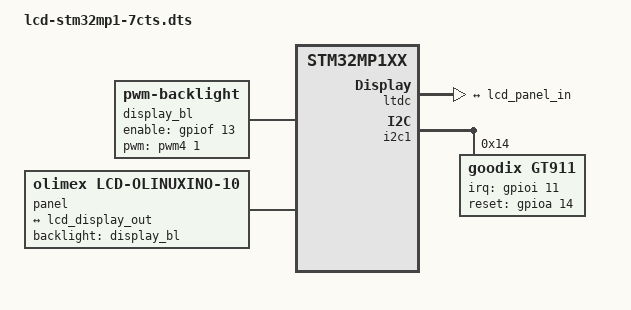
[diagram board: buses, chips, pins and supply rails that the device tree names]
/dts-v1/;
/plugin/;

/ {
	compatible = "olimex,stm32mp1xx-olinuxino-som",
                     "olimex,stm32mp1xx-olinuxino-lime",
		     "olimex,stm32mp1xx-olinuxino-som-base";

	description = "LCD-OLinuXino-10CTS 1024x600 with capacitive TS and I2C interface";

	fragment@0 {
		target-path = "/";
		__overlay__ {
			display_bl: display-bl {
                                    compatible = "pwm-backlight";
                                    pwms = <&pwm4 1 50000 1>;
                                    brightness-levels = <0 10 20 30 40 50 60 70 80 90 100>;
                                    default-brightness-level = <10>;
                                    enable-gpios = <&gpiof 13 0>;
                                    status = "okay";
                        };
			panel {
                              compatible = "olimex,lcd-olinuxino-10";
                              backlight = <&display_bl>;
                              port {
                                lcd_panel_in: endpoint {
                                       remote-endpoint = <&lcd_display_out>;
                                };
                            };
                      };
		};
	};

	fragment@1 {
		target = <&ltdc>;
		__overlay__ {
                port {
                        lcd_display_out: endpoint {
                        remote-endpoint = <&lcd_panel_in>;
                    };
               };
	    };
	};

	fragment@2 {
		target = <&i2c1>;
		__overlay__ {
			gt911@14 {
                                compatible = "goodix,gt911";
                                reg = <0x14>;

                                interrupt-parent = <&gpioi>;
                                interrupts = <11 2>;          /* PI11: IRQ_TYPE_EDGE_FALLING */

                                irq-gpios = <&gpioi 11 0>;      /* PH10 */
                                reset-gpios = <&gpioa 14 0>;    /* PA13: GPIO_ACTIVE_HIGH */

                                touchscreen-swapped-x-y;
                        };
		};
	};
};
	
